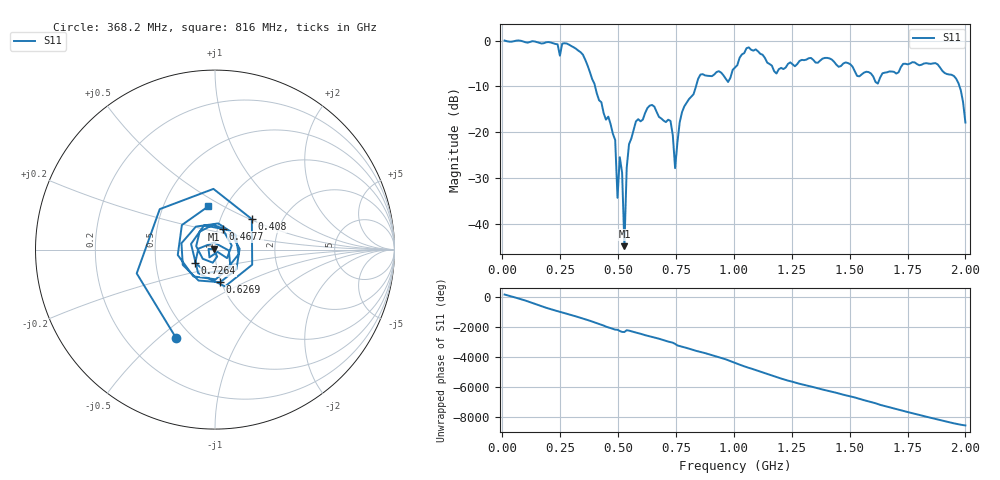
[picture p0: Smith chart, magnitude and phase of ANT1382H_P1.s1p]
!Created with skrf (http://scikit-rf.org).
# Hz S RI R 50.0
!freq ReS11 ImS11
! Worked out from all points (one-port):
!   201 points, 10 MHz to 2 GHz, reference 50 ohm
!   lowest |S11| = -44.9 dB at 527.4 MHz (marker M1), VSWR 1.01, Z = 49.4 + j0.12 ohm
!   |S11| at or under -10 dB: 400.9 MHz to 836.4 MHz (435.5 MHz wide, 70.4 % of centre); 1.975 GHz to end of sweep
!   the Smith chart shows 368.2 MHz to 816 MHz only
!   S11 on the Smith chart (normalised r, x): 368.2 MHz: 0.41, -0.57; 408 MHz: 1.41, +0.51; 467.7 MHz: 1.06, +0.25; 626.9 MHz: 0.99, -0.37; 726.4 MHz: 0.79, -0.12; 816 MHz: 0.83, +0.43
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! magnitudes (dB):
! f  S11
! 10 MHz  0.1
! 258.8 MHz  -0.6
! 368.2 MHz  -5.4
! 408 MHz  -11.5
! 467.7 MHz  -18.2
! 487.6 MHz  -21.7
! 497.6 MHz  -34.4
! 507.5 MHz  -25.5
! 517.5 MHz  -28.9
! 527.4 MHz  -44.9
! 537.4 MHz  -27.8
! 547.3 MHz  -22.6
! 626.9 MHz  -14.7
! 726.4 MHz  -17.5
! 746.3 MHz  -27.9
! 756.2 MHz  -22.3
! 776.1 MHz  -15.6
! 816 MHz  -12.3
! 855.8 MHz  -7.4
! 1.005 GHz  -5.8
! 1.065 GHz  -1.4
! 1.184 GHz  -7.2
! 1.254 GHz  -5.2
! 1.502 GHz  -5.1
! 1.622 GHz  -9.4
! 1.751 GHz  -5.2
! 1.95 GHz  -7.7
! 2 GHz  -17.9
